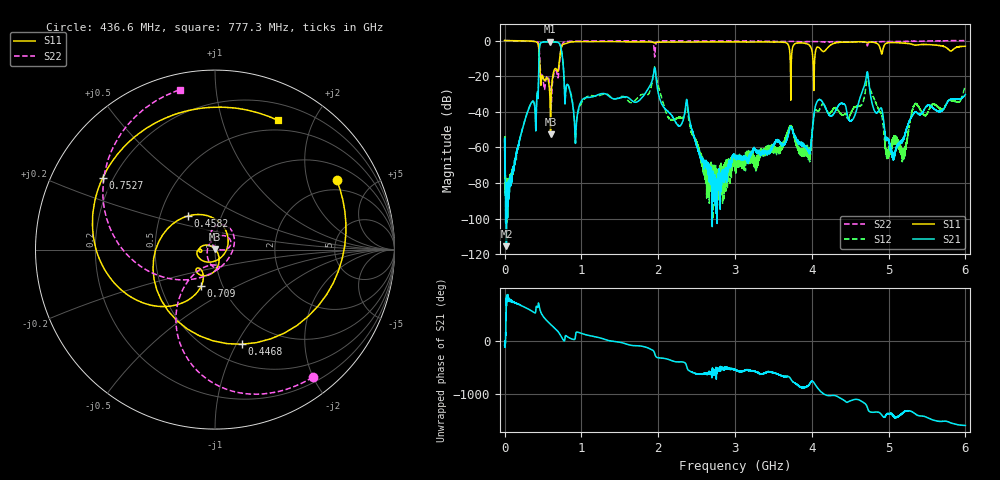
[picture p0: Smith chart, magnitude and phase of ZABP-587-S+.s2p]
# GHZ S RI R 50.000000000000
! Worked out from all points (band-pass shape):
!   10000 points, 1 MHz to 6 GHz, reference 50 ohm
!   highest |S21| = -0.68 dB at 592 MHz (marker M1); lowest = -115.5 dB at 25 MHz (marker M2)
!   |S21| within 3 dB of the highest: 455.2 MHz to 732.4 MHz (277.2 MHz wide, 46.7 % of centre)
!   lowest |S11| = -52.7 dB at 598.6 MHz (marker M3), VSWR 1.00, Z = 50.1 + j0.186 ohm
!   |S11| at or under -10 dB: 454.6 MHz to 717.3 MHz (262.7 MHz wide, 44.8 % of centre); 3.718659 GHz to 3.73552 GHz (16.86 MHz wide, 0.452 % of centre); 4.014 GHz to 4.039 GHz (24.49 MHz wide, 0.608 % of centre)
!   |S22| runs from -39.1 to 0.0 dB; largest |S21 - S12| = 0.086
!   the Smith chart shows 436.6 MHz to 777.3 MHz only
!   S11 on the Smith chart (normalised r, x): 436.6 MHz: 1.52, +3.04; 446.8 MHz: 0.70, -1.05; 458.2 MHz: 0.69, +0.28; 709 MHz: 0.79, -0.34; 752.7 MHz: 0.16, +0.28; 777.3 MHz: 0.38, +1.53
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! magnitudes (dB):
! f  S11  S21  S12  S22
! 1 MHz  0.0  -55.4  -54.4  0.0
! 25 MHz  0.0  -115.5  -82.2  0.0
! 436.6 MHz  -2.1  -32.6  -32.4  -1.0
! 446.8 MHz  -5.2  -11.0  -10.9  -2.4
! 458.2 MHz  -12.4  -2.7  -2.7  -9.5
! 592 MHz  -33.2  -0.7  -0.7  -26.5
! 598.6 MHz  -52.7  -0.7  -0.7  -31.2
! 709 MHz  -13.3  -1.4  -1.4  -15.5
! 752.7 MHz  -2.6  -8.9  -8.9  -2.0
! 777.3 MHz  -1.9  -23.7  -23.9  -0.8
! 921.3 MHz  -0.7  -56.6  -56.6  -0.3
! 1.001 GHz  -0.6  -34.0  -35.1  -0.3
! 2.001 GHz  -1.0  -29.5  -25.5  -0.4
! 2.378 GHz  -0.9  -34.5  -36.8  -0.6
! 2.727 GHz  -0.8  -80.5  -73.2  -0.2
! 3.001 GHz  -0.8  -66.1  -71.0  -0.3
! 4.001 GHz  -5.5  -53.8  -54.3  -0.6
! 4.084 GHz  -3.7  -33.4  -39.7  -0.6
! 4.514 GHz  -0.9  -44.9  -40.3  -0.8
! 4.732 GHz  -1.2  -19.5  -21.1  -2.0
! 5 GHz  -1.2  -55.9  -62.5  -0.6
! 6 GHz  -3.2  -30.3  -25.3  0.0
